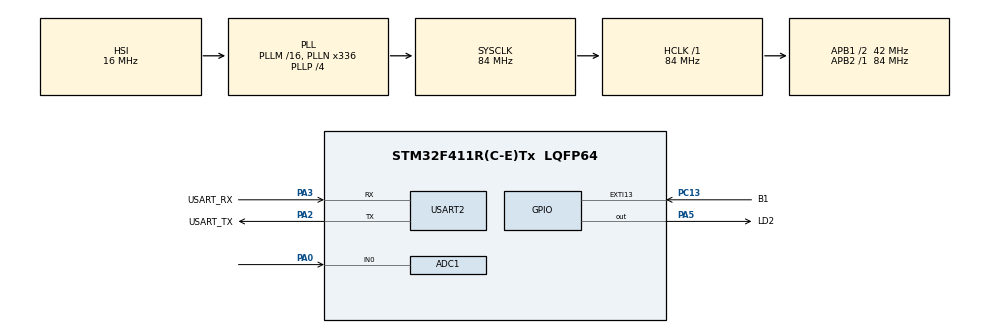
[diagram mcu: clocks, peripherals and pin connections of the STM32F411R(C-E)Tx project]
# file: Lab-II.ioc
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ADC1.Channel-0\#ChannelRegularConversion=ADC_CHANNEL_0
ADC1.Channel-1\#ChannelRegularConversion=ADC_CHANNEL_TEMPSENSOR
ADC1.ContinuousConvMode=ENABLE
ADC1.DMAContinuousRequests=ENABLE
ADC1.EOCSelection=ADC_EOC_SEQ_CONV
ADC1.NbrOfConversion=2
ADC1.NbrOfConversionFlag=1
ADC1.Rank-0\#ChannelRegularConversion=1
ADC1.Rank-1\#ChannelRegularConversion=2
ADC1.SamplingTime-0\#ChannelRegularConversion=ADC_SAMPLETIME_56CYCLES
ADC1.SamplingTime-1\#ChannelRegularConversion=ADC_SAMPLETIME_56CYCLES
ADC1.ScanConvMode=ENABLE
ADC1.master=1
Dma.ADC1.0.Direction=DMA_PERIPH_TO_MEMORY
Dma.ADC1.0.FIFOMode=DMA_FIFOMODE_DISABLE
Dma.ADC1.0.Instance=DMA2_Stream0
Dma.ADC1.0.MemDataAlignment=DMA_MDATAALIGN_HALFWORD
Dma.ADC1.0.MemInc=DMA_MINC_ENABLE
Dma.ADC1.0.Mode=DMA_CIRCULAR
Dma.ADC1.0.PeriphDataAlignment=DMA_PDATAALIGN_HALFWORD
Dma.ADC1.0.PeriphInc=DMA_PINC_DISABLE
Dma.ADC1.0.Priority=DMA_PRIORITY_LOW
Dma.Request0=ADC1
Mcu.Family=STM32F4
Mcu.Name=STM32F411R(C-E)Tx
Mcu.Package=LQFP64
NVIC.ADC_IRQn=true\:0\:0\:false\:false\:true\:true\:true\:true
NVIC.DMA2_Stream0_IRQn=true\:0\:0\:false\:false\:true\:false\:true\:true
NVIC.EXTI15_10_IRQn=true\:0\:0\:false\:false\:true\:true\:true\:true
NVIC.PriorityGroup=NVIC_PRIORITYGROUP_0
PA0-WKUP.Signal=ADCx_IN0
PA13.GPIO_Label=TMS
PA13.Mode=Serial_Wire
PA13.Signal=SYS_JTMS-SWDIO
PA14.GPIO_Label=TCK
PA14.Mode=Serial_Wire
PA14.Signal=SYS_JTCK-SWCLK
PA2.GPIO_Label=USART_TX
PA2.Mode=Asynchronous
PA2.Signal=USART2_TX
PA3.GPIO_Label=USART_RX
PA3.Mode=Asynchronous
PA3.Signal=USART2_RX
PA5.GPIO_Label=LD2
PA5.Signal=GPIO_Output
PB3.GPIO_Label=SWO
PB3.Signal=SYS_JTDO-SWO
PC13-ANTI_TAMP.GPIO_Label=B1
PC13-ANTI_TAMP.GPIO_ModeDefaultEXTI=GPIO_MODE_IT_FALLING
PC13-ANTI_TAMP.Signal=GPXTI13
PC14-OSC32_IN.Mode=LSE-External-Oscillator
PC14-OSC32_IN.Signal=RCC_OSC32_IN
PC15-OSC32_OUT.Mode=LSE-External-Oscillator
PC15-OSC32_OUT.Signal=RCC_OSC32_OUT
PH0\ -\ OSC_IN.Mode=HSE-External-Clock-Source
PH0\ -\ OSC_IN.Signal=RCC_OSC_IN
PH1\ -\ OSC_OUT.Mode=HSE-External-Clock-Source
PH1\ -\ OSC_OUT.Signal=RCC_OSC_OUT
ProjectManager.HeapSize=0x200
ProjectManager.StackSize=0x400
ProjectManager.TargetToolchain=STM32CubeIDE
RCC.48MHZClocksFreq_Value=84000000
RCC.AHBFreq_Value=84000000
RCC.APB1CLKDivider=RCC_HCLK_DIV2
RCC.APB1Freq_Value=42000000
RCC.APB1TimFreq_Value=84000000
RCC.APB2Freq_Value=84000000
RCC.APB2TimFreq_Value=84000000
RCC.CortexFreq_Value=84000000
RCC.FLatency-AdvancedSettings=FLASH_LATENCY_2
RCC.HCLKFreq_Value=84000000
RCC.HSE_VALUE=8000000
RCC.HSI_VALUE=16000000
RCC.PLLN=336
RCC.PLLP=RCC_PLLP_DIV4
RCC.SYSCLKFreq_VALUE=84000000
RCC.SYSCLKSource=RCC_SYSCLKSOURCE_PLLCLK
RCC.VCOOutputFreq_Value=336000000
SH.ADCx_IN0.0=ADC1_IN0,IN0
USART2.VirtualMode=VM_ASYNC
VP_ADC1_TempSens_Input.Mode=IN-TempSens
board=NUCLEO-F411RE

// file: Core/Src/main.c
/* USER CODE BEGIN Header */
/**
  ******************************************************************************
  * @file           : main.c
  * @brief          : Main program body
  ******************************************************************************
  * @attention
  *
  * Copyright (c) 2023 STMicroelectronics.
  * All rights reserved.
  *
  * This software is licensed under terms that can be found in the LICENSE file
  * in the root directory of this software component.
  * If no LICENSE file comes with this software, it is provided AS-IS.
  *
  ******************************************************************************
  */
/* USER CODE END Header */
#include "main.h"

ADC_HandleTypeDef hadc1;
DMA_HandleTypeDef hdma_adc1;

UART_HandleTypeDef huart2;

/* USER CODE BEGIN PV */
uint32_t time;
uint32_t T;
//declare buffer for DMA to Transmit to.
uint16_t Vin;
uint16_t Vin_0;
float Temp_raw;
float Temp_cel;
float Temp_kelvin;

typedef struct
{
	uint16_t in0;
	uint16_t temp;
} adcDMAStructure;

adcDMAStructure adcDMA[10];

/* USER CODE END PV */

void SystemClock_Config(void);
static void MX_GPIO_Init(void);
static void MX_DMA_Init(void);
static void MX_USART2_UART_Init(void);
static void MX_ADC1_Init(void);

int main(void)
{

  /* MCU Configuration--------------------------------------------------------*/

  /* Reset of all peripherals, Initializes the Flash interface and the Systick. */
  HAL_Init();

  /* Configure the system clock */
  SystemClock_Config();

  /* Initialize all configured peripherals */
  MX_GPIO_Init();
  MX_DMA_Init();
  MX_USART2_UART_Init();
  MX_ADC1_Init();

  /* Infinite loop */
  while (1)
  {

    /* USER CODE BEGIN 3 */
	  time = HAL_GetTick();

	  if (time > T)
	  {
		  T = time + 1000;
		  register int i;
		  for(i=0;i<10;i++)
		  {
			  Vin_0 = Vin_0 + adcDMA[i].in0;
			  Temp_raw = Temp_raw + adcDMA[i].temp;
		  }

	  Vin = (Vin_0/10)/4095.0*3300*2;
	  Temp_cel = ((((Temp_raw/10)/4095.0*3300)-760)/2.5)+25;
	  Temp_kelvin = Temp_cel + 273.15;

	  Vin_0 = 0;
	  Temp_raw = 0;
	  }
  }
  /* USER CODE END 3 */
}

void SystemClock_Config(void)
{
  RCC_OscInitTypeDef RCC_OscInitStruct = {0};
  RCC_ClkInitTypeDef RCC_ClkInitStruct = {0};

  /** Configure the main internal regulator output voltage
  */
  __HAL_RCC_PWR_CLK_ENABLE();
  __HAL_PWR_VOLTAGESCALING_CONFIG(PWR_REGULATOR_VOLTAGE_SCALE1);

  /** Initializes the RCC Oscillators according to the specified parameters
  * in the RCC_OscInitTypeDef structure.
  */
  RCC_OscInitStruct.OscillatorType = RCC_OSCILLATORTYPE_HSI;
  RCC_OscInitStruct.HSIState = RCC_HSI_ON;
  RCC_OscInitStruct.HSICalibrationValue = RCC_HSICALIBRATION_DEFAULT;
  RCC_OscInitStruct.PLL.PLLState = RCC_PLL_ON;
  RCC_OscInitStruct.PLL.PLLSource = RCC_PLLSOURCE_HSI;
  RCC_OscInitStruct.PLL.PLLM = 16;
  RCC_OscInitStruct.PLL.PLLN = 336;
  RCC_OscInitStruct.PLL.PLLP = RCC_PLLP_DIV4;
  RCC_OscInitStruct.PLL.PLLQ = 4;
  if (HAL_RCC_OscConfig(&RCC_OscInitStruct) != HAL_OK)
  {
    Error_Handler();
  }

  /** Initializes the CPU, AHB and APB buses clocks
  */
  RCC_ClkInitStruct.ClockType = RCC_CLOCKTYPE_HCLK|RCC_CLOCKTYPE_SYSCLK
                              |RCC_CLOCKTYPE_PCLK1|RCC_CLOCKTYPE_PCLK2;
  RCC_ClkInitStruct.SYSCLKSource = RCC_SYSCLKSOURCE_PLLCLK;
  RCC_ClkInitStruct.AHBCLKDivider = RCC_SYSCLK_DIV1;
  RCC_ClkInitStruct.APB1CLKDivider = RCC_HCLK_DIV2;
  RCC_ClkInitStruct.APB2CLKDivider = RCC_HCLK_DIV1;

  if (HAL_RCC_ClockConfig(&RCC_ClkInitStruct, FLASH_LATENCY_2) != HAL_OK)
  {
    Error_Handler();
  }
}

static void MX_ADC1_Init(void)
{

  ADC_ChannelConfTypeDef sConfig = {0};

  /** Configure the global features of the ADC (Clock, Resolution, Data Alignment and number of conversion)
  */
  hadc1.Instance = ADC1;
  hadc1.Init.ClockPrescaler = ADC_CLOCK_SYNC_PCLK_DIV4;
  hadc1.Init.Resolution = ADC_RESOLUTION_12B;
  hadc1.Init.ScanConvMode = ENABLE;
  hadc1.Init.ContinuousConvMode = ENABLE;
  hadc1.Init.DiscontinuousConvMode = DISABLE;
  hadc1.Init.ExternalTrigConvEdge = ADC_EXTERNALTRIGCONVEDGE_NONE;
  hadc1.Init.ExternalTrigConv = ADC_SOFTWARE_START;
  hadc1.Init.DataAlign = ADC_DATAALIGN_RIGHT;
  hadc1.Init.NbrOfConversion = 2;
  hadc1.Init.DMAContinuousRequests = ENABLE;
  hadc1.Init.EOCSelection = ADC_EOC_SEQ_CONV;
  if (HAL_ADC_Init(&hadc1) != HAL_OK)
  {
    Error_Handler();
  }

  /** Configure for the selected ADC regular channel its corresponding rank in the sequencer and its sample time.
  */
  sConfig.Channel = ADC_CHANNEL_0;
  sConfig.Rank = 1;
  sConfig.SamplingTime = ADC_SAMPLETIME_56CYCLES;
  if (HAL_ADC_ConfigChannel(&hadc1, &sConfig) != HAL_OK)
  {
    Error_Handler();
  }

  /** Configure for the selected ADC regular channel its corresponding rank in the sequencer and its sample time.
  */
  sConfig.Channel = ADC_CHANNEL_TEMPSENSOR;
  sConfig.Rank = 2;
  if (HAL_ADC_ConfigChannel(&hadc1, &sConfig) != HAL_OK)
  {
    Error_Handler();
  }

}

static void MX_USART2_UART_Init(void)
{

  huart2.Instance = USART2;
  huart2.Init.BaudRate = 115200;
  huart2.Init.WordLength = UART_WORDLENGTH_8B;
  huart2.Init.StopBits = UART_STOPBITS_1;
  huart2.Init.Parity = UART_PARITY_NONE;
  huart2.Init.Mode = UART_MODE_TX_RX;
  huart2.Init.HwFlowCtl = UART_HWCONTROL_NONE;
  huart2.Init.OverSampling = UART_OVERSAMPLING_16;
  if (HAL_UART_Init(&huart2) != HAL_OK)
  {
    Error_Handler();
  }

}

static void MX_DMA_Init(void)
{

  /* DMA controller clock enable */
  __HAL_RCC_DMA2_CLK_ENABLE();

  /* DMA interrupt init */
  /* DMA2_Stream0_IRQn interrupt configuration */
  HAL_NVIC_SetPriority(DMA2_Stream0_IRQn, 0, 0);
  HAL_NVIC_EnableIRQ(DMA2_Stream0_IRQn);

}

static void MX_GPIO_Init(void)
{
  GPIO_InitTypeDef GPIO_InitStruct = {0};

  /* GPIO Ports Clock Enable */
  __HAL_RCC_GPIOC_CLK_ENABLE();
  __HAL_RCC_GPIOH_CLK_ENABLE();
  __HAL_RCC_GPIOA_CLK_ENABLE();
  __HAL_RCC_GPIOB_CLK_ENABLE();

  /*Configure GPIO pin Output Level */
  HAL_GPIO_WritePin(LD2_GPIO_Port, LD2_Pin, GPIO_PIN_RESET);

  /*Configure GPIO pin : B1_Pin */
  GPIO_InitStruct.Pin = B1_Pin;
  GPIO_InitStruct.Mode = GPIO_MODE_IT_FALLING;
  GPIO_InitStruct.Pull = GPIO_NOPULL;
  HAL_GPIO_Init(B1_GPIO_Port, &GPIO_InitStruct);

  /*Configure GPIO pin : LD2_Pin */
  GPIO_InitStruct.Pin = LD2_Pin;
  GPIO_InitStruct.Mode = GPIO_MODE_OUTPUT_PP;
  GPIO_InitStruct.Pull = GPIO_NOPULL;
  GPIO_InitStruct.Speed = GPIO_SPEED_FREQ_LOW;
  HAL_GPIO_Init(LD2_GPIO_Port, &GPIO_InitStruct);

  /* EXTI interrupt init*/
  HAL_NVIC_SetPriority(EXTI15_10_IRQn, 0, 0);
  HAL_NVIC_EnableIRQ(EXTI15_10_IRQn);

}

/* USER CODE BEGIN 4 */
void HAL_GPIO_EXTI_Callback(uint16_t GPIO_Pin)
{
	if(GPIO_Pin == GPIO_PIN_13)
	{
		HAL_ADC_Start_DMA(&hadc1, (uint32_t*)adcDMA, 20);
	}
}

/* USER CODE END 4 */

void Error_Handler(void)
{
  __disable_irq();
  while (1)
  {
  }
}
